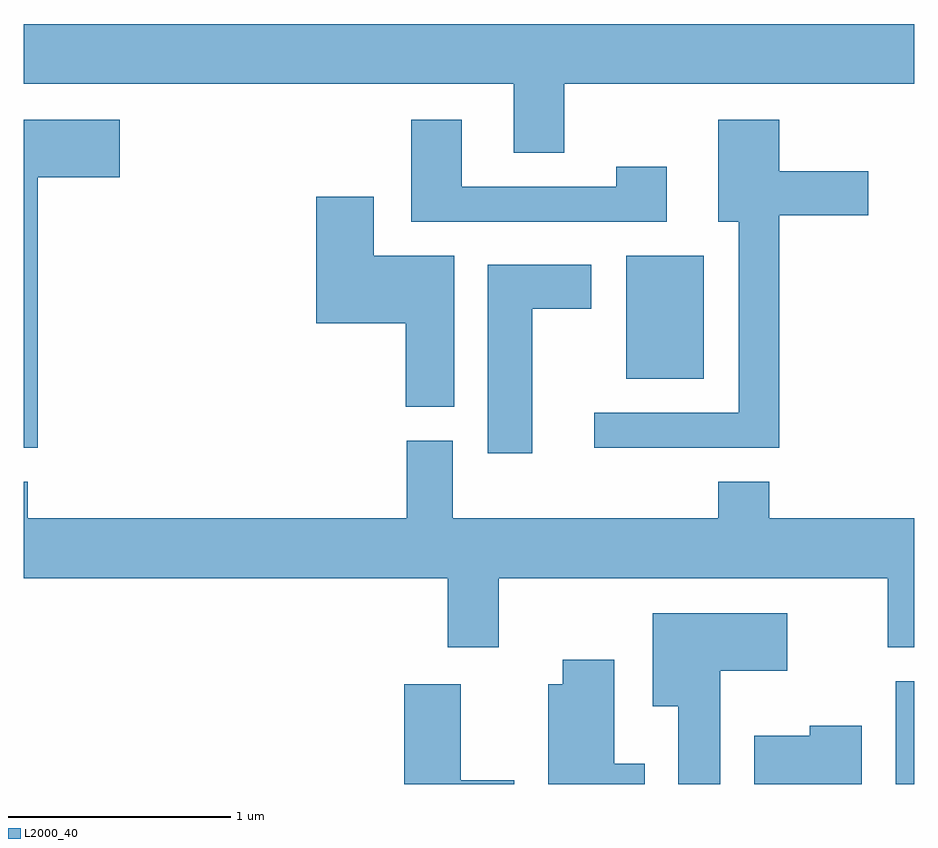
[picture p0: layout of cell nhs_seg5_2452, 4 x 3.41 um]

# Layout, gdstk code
import gdstk
lib = gdstk.Library(unit=1e-6, precision=1e-09)
def R(c, l, rs):  # rectangles x0, y0, x1, y1
    for r in rs: c.add(gdstk.rectangle(r[:2], r[2:], *l))
def P(c, l, *ps):  # polygons
    for p in ps: c.add(gdstk.Polygon(p, *l))
L2000_40 = (2000, 40)

nhs_seg5_2452 = lib.new_cell('nhs_seg5_2452')
R(nhs_seg5_2452, L2000_40, [(261.526,1478.072,261.611,1478.534), (260.316,1479.891,260.664,1480.444)])
P(nhs_seg5_2452, L2000_40, [(260.039,1481.216),(261.611,1481.216),(261.611,1481.484),(257.611,1481.484),(257.611,1481.216),(259.811,1481.216),(259.811,1480.906),(260.039,1480.906)],
  [(257.674,1480.796),(258.044,1480.796),(258.044,1481.054),(257.611,1481.054),(257.611,1479.581),(257.674,1479.581)],
  [(261.004,1480.626),(261.404,1480.626),(261.404,1480.824),(261.004,1480.824),(261.004,1481.054),(260.731,1481.054),(260.731,1480.596),(260.821,1480.596),(260.821,1479.739),(260.173,1479.739),(260.173,1479.581),(261.004,1479.581)],
  [(260.499,1480.844),(260.271,1480.844),(260.271,1480.754),(259.579,1480.754),(259.579,1481.054),(259.351,1481.054),(259.351,1480.596),(260.499,1480.596)],
  [(259.544,1480.444),(259.184,1480.444),(259.184,1480.709),(258.926,1480.709),(258.926,1480.141),(259.326,1480.141),(259.326,1479.766),(259.544,1479.766)],
  [(259.894,1480.206),(260.159,1480.206),(260.159,1480.404),(259.696,1480.404),(259.696,1479.556),(259.894,1479.556)],
  [(259.744,1478.996),(261.491,1478.996),(261.491,1478.686),(261.611,1478.686),(261.611,1479.264),(260.959,1479.264),(260.959,1479.429),(260.731,1479.429),(260.731,1479.264),(259.539,1479.264),(259.539,1479.614),(259.331,1479.614),(259.331,1479.264),(257.629,1479.264),(257.629,1479.429),(257.611,1479.429),(257.611,1478.996),(259.516,1478.996),(259.516,1478.686),(259.744,1478.686)],
  [(260.739,1478.581),(261.039,1478.581),(261.039,1478.839),(260.436,1478.839),(260.436,1478.421),(260.551,1478.421),(260.551,1478.072),(260.739,1478.072)],
  [(260.399,1478.164),(260.264,1478.164),(260.264,1478.629),(260.031,1478.629),(260.031,1478.519),(259.966,1478.519),(259.966,1478.072),(260.399,1478.072)],
  [(259.814,1478.089),(259.574,1478.089),(259.574,1478.519),(259.321,1478.519),(259.321,1478.072),(259.814,1478.072)],
  [(261.374,1478.334),(261.141,1478.334),(261.141,1478.289),(260.891,1478.289),(260.891,1478.072),(261.374,1478.072)])

lib.write_gds('nhs_seg5_2452.gds')
